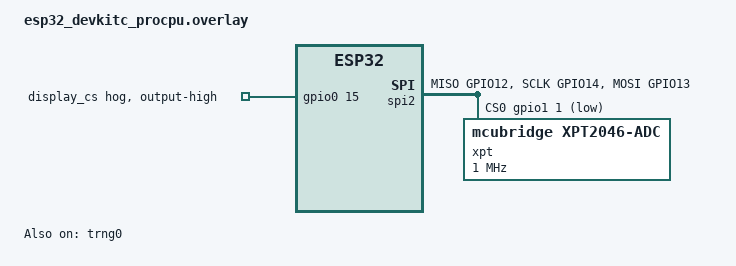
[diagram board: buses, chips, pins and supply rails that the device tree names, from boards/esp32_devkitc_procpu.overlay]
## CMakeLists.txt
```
# SPDX-License-Identifier: Apache-2.0
cmake_minimum_required(VERSION 3.20.0)
find_package(Zephyr REQUIRED HINTS $ENV{ZEPHYR_BASE})
project(mcb_firmware)

# Shared wire protocol (protocol/mcb_proto.h), same header as the Linux driver
target_include_directories(app PRIVATE ${CMAKE_CURRENT_SOURCE_DIR}/../protocol)
target_sources(app PRIVATE src/main.c src/link.c src/touch.c)
```

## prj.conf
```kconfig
# UART0 (the USB-serial chip) carries the framed protocol, so nothing else may
# write to it: no console, printk, logging or boot banner.
CONFIG_CONSOLE=n
CONFIG_UART_CONSOLE=n
CONFIG_PRINTK=n
CONFIG_LOG=n
CONFIG_BOOT_BANNER=n

CONFIG_SERIAL=y
CONFIG_UART_INTERRUPT_DRIVEN=y
# RX interrupt on every byte. The default threshold (22 bytes) leaves the tail
# of a frame in the FIFO until the RX idle timeout (22 byte times, ~1.9 ms at
# 115200) fires, which delayed every command by that much (docs/latency.md).
CONFIG_UART_ESP32_RX_FIFO_THRESH=1
CONFIG_RING_BUFFER=y

# XPT2046 touch controller on SPI2
CONFIG_SPI=y
CONFIG_GPIO=y

# crc32_ieee() for the frame CRC
CONFIG_CRC=y

# boot_id from the hardware RNG
CONFIG_ENTROPY_GENERATOR=y
```

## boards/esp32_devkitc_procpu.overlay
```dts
/* SPDX-License-Identifier: Apache-2.0 */
/*
 * Sunton ESP32-3248S035R ("CYD" 3.5", resistive touch) on top of the generic
 * esp32_devkitc board: same ESP32-D0WD-V3 module, board-specific wiring here.
 */

/ {
	chosen {
		mcb,uart = &uart0;		/* USB-serial chip: the mcu-bridge link */
		zephyr,entropy = &trng0;	/* boot_id */
	};
};

&trng0 {
	status = "okay";
};

/* Display and touch share HSPI: SCK 14, MOSI 13, MISO 12 */
&pinctrl {
	spim2_cyd: spim2_cyd {
		group1 {
			pinmux = <SPIM2_MISO_GPIO12>, <SPIM2_SCLK_GPIO14>;
		};
		group2 {
			pinmux = <SPIM2_MOSI_GPIO13>;
			output-low;
		};
	};
};

&spi2 {
	pinctrl-0 = <&spim2_cyd>;
	cs-gpios = <&gpio1 1 GPIO_ACTIVE_LOW>;	/* GPIO33: XPT2046 CS */

	xpt: touch@0 {
		compatible = "mcubridge,xpt2046-adc";
		reg = <0>;
		spi-max-frequency = <1000000>;
	};
};

&gpio0 {
	/* GPIO15: ST7796 display CS, held inactive so only the XPT2046 drives MISO */
	display_cs {
		gpio-hog;
		gpios = <15 GPIO_ACTIVE_HIGH>;
		output-high;
	};
};
```

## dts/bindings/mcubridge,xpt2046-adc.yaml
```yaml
# SPDX-License-Identifier: Apache-2.0
description: |
  XPT2046 resistive-touch controller read over raw SPI by the mcu-bridge
  firmware (touch position and pressure). Separate from Zephyr's
  "xptek,xpt2046" input driver, which would otherwise claim the chip.

compatible: "mcubridge,xpt2046-adc"

include: spi-device.yaml
```

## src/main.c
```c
/* SPDX-License-Identifier: Apache-2.0 */
/*
 * mcu-bridge firmware for the Sunton ESP32-3248S035R.
 *
 * main thread:    boot sequence, then DATA (touch sample) at rate_hz on
 *                 absolute deadlines, so the rate does not drift by the
 *                 sampling time
 * command thread: answers host commands: PING -> PONG, SET_RATE -> ACK,
 *                 anything else -> ACK "unsupported"
 */
#include <zephyr/kernel.h>
#include <zephyr/sys/atomic.h>

#include "link.h"
#include "touch.h"

#define FW_VERSION	0x00010000	/* 1.0.0 (the simulator reports 0.1.0) */
#define DEFAULT_RATE_HZ	50

static atomic_t rate_hz = ATOMIC_INIT(DEFAULT_RATE_HZ);
static k_tid_t sampler;

static void send_hello(void)
{
	uint8_t p[MCB_HELLO_LEN] = { MCB_VERSION, 0 };

	mcb_put_le16(p + 2, (uint16_t)atomic_get(&rate_hz));
	mcb_put_le32(p + 4, FW_VERSION);
	link_send(MCB_TYPE_HELLO, p, sizeof(p));
}

static void send_ack(const struct mcb_frame *req, uint8_t status)
{
	uint8_t p[MCB_ACK_LEN];

	mcb_put_le32(p, req->seq);
	p[4] = req->type;
	p[5] = status;
	link_send(MCB_TYPE_ACK, p, sizeof(p));
}

static void handle(const struct mcb_frame *f)
{
	uint8_t p[4 + MCB_PING_MAX_TOKEN];
	uint8_t tok;
	uint16_t hz;

	switch (f->type) {
	case MCB_TYPE_PING:
		tok = MIN(f->len, MCB_PING_MAX_TOKEN);
		mcb_put_le32(p, f->seq);
		memcpy(p + 4, f->payload, tok);
		link_send(MCB_TYPE_PONG, p, 4 + tok);
		break;
	case MCB_TYPE_SET_RATE:
		hz = f->len == 2 ? mcb_get_le16(f->payload) : 0;
		if (hz < MCB_RATE_MIN_HZ || hz > MCB_RATE_MAX_HZ) {
			send_ack(f, MCB_STATUS_RANGE);
			break;
		}
		atomic_set(&rate_hz, hz);
		k_wakeup(sampler);	/* apply now, not after the old period */
		send_ack(f, MCB_STATUS_OK);
		break;
	default:
		send_ack(f, MCB_STATUS_UNSUPPORTED);
		break;
	}
}

static void command_thread(void *a, void *b, void *c)
{
	struct mcb_frame f;

	ARG_UNUSED(a);
	ARG_UNUSED(b);
	ARG_UNUSED(c);
	for (;;) {
		if (!link_recv(&f, K_FOREVER))
			handle(&f);
	}
}

K_THREAD_DEFINE(cmd_tid, 2048, command_thread, NULL, NULL, NULL, 5, 0, K_TICKS_FOREVER);

int main(void)
{
	static const uint8_t flush;	/* 0x00: ends the ROM boot text on the host side */
	struct touch_sample s;
	uint8_t p[4 * 4];
	int64_t next;
	int last_rate = 0;

	sampler = k_current_get();
	if (link_init() || touch_init())
		return 0;	/* no console to report on; the host sees silence */

	link_send_raw(&flush, 1);
	send_hello();
	k_thread_start(cmd_tid);

	next = k_uptime_ticks();
	for (;;) {
		int rate = atomic_get(&rate_hz);

		if (rate != last_rate) {	/* rate changed: restart the schedule */
			next = k_uptime_ticks();
			last_rate = rate;
		}
		if (touch_read(&s) == 0) {
			mcb_put_le32(p + 0, s.touched);
			mcb_put_le32(p + 4, (uint32_t)s.x);
			mcb_put_le32(p + 8, (uint32_t)s.y);
			mcb_put_le32(p + 12, (uint32_t)s.pressure);
			link_send(MCB_TYPE_DATA, p, sizeof(p));
		}
		next += k_us_to_ticks_ceil64(USEC_PER_SEC / rate);
		if (next < k_uptime_ticks())	/* fell behind: don't burst to catch up */
			next = k_uptime_ticks();
		k_sleep(K_TIMEOUT_ABS_TICKS(next));
	}
}
```

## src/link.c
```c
/* SPDX-License-Identifier: Apache-2.0 */
/*
 * mcu-bridge link over UART0 (docs/protocol.md), interrupt driven.
 *
 * The ISR moves bytes between the UART FIFOs and two ring buffers. Each ring
 * has exactly one producer and one consumer, which Zephyr's ring buffer
 * supports without locking:
 *   rx_ring: ISR -> command thread (link_recv)
 *   tx_ring: senders -> ISR; tx_lock makes the senders (sampler and command
 *            threads) one producer and keeps seq order = queue order.
 * A sender never blocks on a full ring: the frame is dropped whole.
 */
#include <errno.h>
#include <zephyr/drivers/uart.h>
#include <zephyr/kernel.h>
#include <zephyr/random/random.h>
#include <zephyr/sys/crc.h>
#include <zephyr/sys/ring_buffer.h>

#include "link.h"

static const struct device *const uart = DEVICE_DT_GET(DT_CHOSEN(mcb_uart));

RING_BUF_DECLARE(rx_ring, 256);
RING_BUF_DECLARE(tx_ring, 1024);
static K_SEM_DEFINE(rx_sem, 0, 1);
static K_MUTEX_DEFINE(tx_lock);

static uint32_t tx_seq;
static uint8_t boot_id;
static struct mcb_rx rx;	/* only touched by the link_recv() caller */

uint32_t mcb_crc32(const uint8_t *data, size_t len)
{
	return crc32_ieee(data, len);
}

static void uart_isr(const struct device *dev, void *user_data)
{
	ARG_UNUSED(user_data);

	if (!uart_irq_update(dev))
		return;

	if (uart_irq_rx_ready(dev)) {
		uint8_t buf[32];
		int n;

		while ((n = uart_fifo_read(dev, buf, sizeof(buf))) > 0) {
			/* bytes beyond the ring are lost, like a UART overrun */
			ring_buf_put(&rx_ring, buf, n);
		}
		k_sem_give(&rx_sem);
	}

	if (uart_irq_tx_ready(dev)) {
		uint8_t *p;
		uint32_t n = ring_buf_get_claim(&tx_ring, &p, 64);

		if (!n) {
			uart_irq_tx_disable(dev);
			/*
			 * A sender may have queued data and enabled TX between
			 * our empty check and the disable: re-check, or that
			 * frame would wait for the next send.
			 */
			if (!ring_buf_is_empty(&tx_ring))
				uart_irq_tx_enable(dev);
		} else {
			int sent = uart_fifo_fill(dev, p, n);

			ring_buf_get_finish(&tx_ring, sent > 0 ? sent : 0);
		}
	}
}

int link_init(void)
{
	int ret;

	if (!device_is_ready(uart))
		return -ENODEV;
	/* random, non-zero, fixed for this boot: lets the host detect reboots */
	do {
		boot_id = sys_rand8_get();
	} while (!boot_id);

	ret = uart_irq_callback_user_data_set(uart, uart_isr, NULL);
	if (ret)
		return ret;
	uart_irq_rx_enable(uart);
	return 0;
}

static int queue(const uint8_t *data, size_t len)
{
	if (ring_buf_space_get(&tx_ring) < len)
		return -ENOSPC;
	ring_buf_put(&tx_ring, data, len);
	uart_irq_tx_enable(uart);
	return 0;
}

int link_send_raw(const uint8_t *data, size_t len)
{
	int ret;

	k_mutex_lock(&tx_lock, K_FOREVER);
	ret = queue(data, len);
	k_mutex_unlock(&tx_lock);
	return ret;
}

int link_send(uint8_t type, const uint8_t *payload, uint8_t len)
{
	struct mcb_frame f = {
		.type = type,
		.len = len,
		.boot_id = boot_id,
	};
	uint8_t wire[MCB_MAX_WIRE];
	int n, ret;

	if (len > MCB_MAX_PAYLOAD)
		return -EINVAL;
	memcpy(f.payload, payload, len);

	k_mutex_lock(&tx_lock, K_FOREVER);
	f.seq = tx_seq++;	/* advances even if dropped: the host sees the gap */
	f.timestamp_us = (uint32_t)k_ticks_to_us_floor64(k_uptime_ticks());
	n = mcb_frame_encode(&f, wire);
	ret = n < 0 ? -EINVAL : queue(wire, n);
	k_mutex_unlock(&tx_lock);
	return ret;
}

int link_recv(struct mcb_frame *f, k_timeout_t timeout)
{
	uint8_t b;

	for (;;) {
		while (ring_buf_get(&rx_ring, &b, 1)) {
			if (mcb_rx_byte(&rx, b, f) == MCB_RX_FRAME)
				return 0;
			/* CRC/framing errors and overruns: frame ignored, no reply */
		}
		if (k_sem_take(&rx_sem, timeout))
			return -EAGAIN;
	}
}
```

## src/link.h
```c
/* SPDX-License-Identifier: Apache-2.0 */
#ifndef MCB_LINK_H
#define MCB_LINK_H

#include <zephyr/kernel.h>

#include "mcb_proto.h"

int link_init(void);
/* Encode and queue a frame; -ENOSPC drops it whole (seq still advances). */
int link_send(uint8_t type, const uint8_t *payload, uint8_t len);
/* Queue raw bytes, e.g. the 0x00 that flushes the host's receiver at boot. */
int link_send_raw(const uint8_t *data, size_t len);
/* Wait for the next valid frame from the host. */
int link_recv(struct mcb_frame *f, k_timeout_t timeout);

#endif
```

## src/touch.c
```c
/* SPDX-License-Identifier: Apache-2.0 */
/*
 * XPT2046 resistive-touch controller over raw SPI.
 *
 * One conversion = a command byte (start, 3-bit channel, 12-bit mode,
 * single-ended/differential, power-down bits) followed by two bytes that
 * clock out the 12-bit result, left-aligned after one busy bit.
 * Touch channels run differential (ratiometric against the panel), so they do
 * not depend on the reference voltage. The chip's temperature channels do,
 * and on this board they could not be calibrated, so they are not used.
 */
#include <errno.h>
#include <zephyr/drivers/spi.h>

#include "touch.h"

/* Differential, 12-bit, PD=01 (ADC stays on between conversions of a burst) */
#define XPT_Z1		0xB1
#define XPT_X		0xD1
#define XPT_Y		0x91
/* Same Y command with PD=00: power down afterwards, PENIRQ enabled */
#define XPT_PWRDN	0x90

/* Idle Z1 reads 0, firm presses 400..900 on this panel */
#define TOUCH_THRESHOLD	100

static const struct spi_dt_spec xpt = SPI_DT_SPEC_GET(DT_NODELABEL(xpt),
	SPI_OP_MODE_MASTER | SPI_WORD_SET(8) | SPI_TRANSFER_MSB);

static int xpt_read(uint8_t cmd, int32_t *val)
{
	uint8_t tx[3] = { cmd, 0, 0 };
	uint8_t rx[3];
	const struct spi_buf tb = { .buf = tx, .len = sizeof(tx) };
	const struct spi_buf rb = { .buf = rx, .len = sizeof(rx) };
	const struct spi_buf_set ts = { .buffers = &tb, .count = 1 };
	const struct spi_buf_set rs = { .buffers = &rb, .count = 1 };
	int ret = spi_transceive_dt(&xpt, &ts, &rs);

	if (ret)
		return ret;
	*val = ((rx[1] << 8) | rx[2]) >> 3;
	return 0;
}

static int32_t median3(int32_t a, int32_t b, int32_t c)
{
	if ((a <= b && b <= c) || (c <= b && b <= a))
		return b;
	if ((b <= a && a <= c) || (c <= a && a <= b))
		return a;
	return c;
}

/* Panels are noisy as contact is made: take the median of three reads */
static int xpt_read_median(uint8_t cmd, int32_t *val)
{
	int32_t v[3];
	int ret;

	for (int i = 0; i < 3; i++) {
		ret = xpt_read(cmd, &v[i]);
		if (ret)
			return ret;
	}
	*val = median3(v[0], v[1], v[2]);
	return 0;
}

int touch_init(void)
{
	return spi_is_ready_dt(&xpt) ? 0 : -ENODEV;
}

int touch_read(struct touch_sample *s)
{
	int32_t z1, x, y, unused;
	int ret;

	ret = xpt_read(XPT_Z1, &z1);
	if (!ret)
		ret = xpt_read_median(XPT_X, &x);
	if (!ret)
		ret = xpt_read_median(XPT_Y, &y);
	if (!ret)
		ret = xpt_read(XPT_PWRDN, &unused);	/* result discarded */
	if (ret)
		return ret;

	s->touched = z1 > TOUCH_THRESHOLD;
	s->x = s->touched ? x : -1;
	s->y = s->touched ? y : -1;
	s->pressure = s->touched ? z1 : 0;
	return 0;
}
```

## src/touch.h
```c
/* SPDX-License-Identifier: Apache-2.0 */
#ifndef MCB_TOUCH_H
#define MCB_TOUCH_H

#include <stdbool.h>
#include <stdint.h>

struct touch_sample {
	bool touched;
	int32_t x;		/* raw 12-bit, -1 when not touched */
	int32_t y;		/* raw 12-bit, -1 when not touched */
	int32_t pressure;	/* raw Z1, 0 when not touched */
};

int touch_init(void);
int touch_read(struct touch_sample *s);

#endif
```
